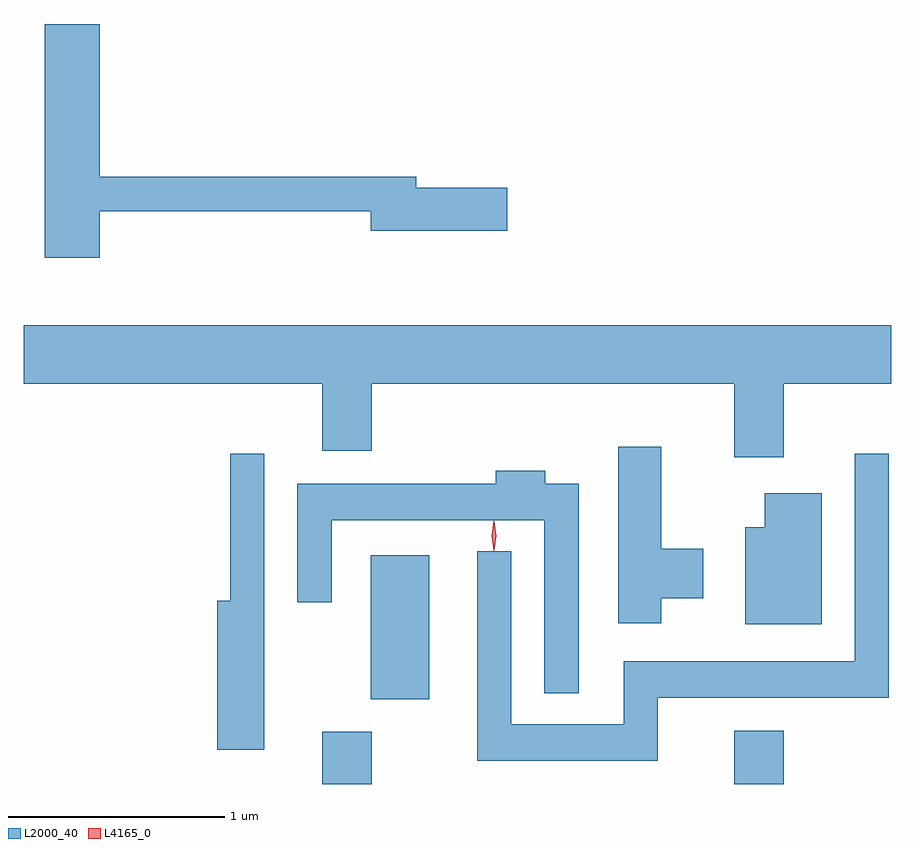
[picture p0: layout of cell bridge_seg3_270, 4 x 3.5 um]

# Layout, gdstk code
import gdstk
lib = gdstk.Library(unit=1e-6, precision=1e-09)
def R(c, l, rs):  # rectangles x0, y0, x1, y1
    for r in rs: c.add(gdstk.rectangle(r[:2], r[2:], *l))
def P(c, l, *ps):  # polygons
    for p in ps: c.add(gdstk.Polygon(p, *l))
L2000_40 = (2000, 40)
L4165_0 = (4165, 0)

bridge_seg3_270 = lib.new_cell('bridge_seg3_270')
R(bridge_seg3_270, L2000_40, [(1049.021,1137.489,1049.249,1137.729), (1050.921,1137.489,1051.149,1137.734), (1049.246,1137.881,1049.514,1138.544)])
P(bridge_seg3_270, L2000_40, [(1047.994,1140.131),(1049.246,1140.131),(1049.246,1140.041),(1049.874,1140.041),(1049.874,1140.239),(1049.454,1140.239),(1049.454,1140.289),(1047.994,1140.289),(1047.994,1140.994),(1047.741,1140.994),(1047.741,1139.916),(1047.994,1139.916)],
  [(1051.149,1139.336),(1051.645,1139.336),(1051.645,1139.604),(1047.645,1139.604),(1047.645,1139.336),(1049.021,1139.336),(1049.021,1139.026),(1049.249,1139.026),(1049.249,1139.336),(1050.921,1139.336),(1050.921,1138.996),(1051.149,1138.996)],
  [(1050.584,1138.346),(1050.779,1138.346),(1050.779,1138.574),(1050.584,1138.574),(1050.584,1139.044),(1050.386,1139.044),(1050.386,1138.231),(1050.584,1138.231)],
  [(1050.569,1137.886),(1051.634,1137.886),(1051.634,1139.013),(1051.476,1139.013),(1051.476,1138.054),(1050.411,1138.054),(1050.411,1137.764),(1049.894,1137.764),(1049.894,1138.563),(1049.736,1138.563),(1049.736,1137.596),(1050.569,1137.596)],
  [(1048.754,1139.013),(1048.596,1139.013),(1048.596,1138.334),(1048.536,1138.334),(1048.536,1137.646),(1048.754,1137.646)],
  [(1050.204,1138.874),(1050.049,1138.874),(1050.049,1138.934),(1049.821,1138.934),(1049.821,1138.874),(1048.906,1138.874),(1048.906,1138.328),(1049.064,1138.328),(1049.064,1138.706),(1050.046,1138.706),(1050.046,1137.908),(1050.204,1137.908)],
  [(1051.324,1138.829),(1051.061,1138.829),(1051.061,1138.674),(1050.971,1138.674),(1050.971,1138.226),(1051.324,1138.226)])
P(bridge_seg3_270, L4165_0, [(1049.813,1138.563),(1049.812,1138.564),(1049.803,1138.633),(1049.812,1138.702),(1049.813,1138.703),(1049.813,1138.702),(1049.823,1138.633),(1049.813,1138.564)],
  [(1049.814,1138.567),(1049.814,1138.568),(1049.804,1138.634),(1049.814,1138.7),(1049.814,1138.701),(1049.815,1138.7),(1049.824,1138.634),(1049.815,1138.568)])

lib.write_gds('bridge_seg3_270.gds')
